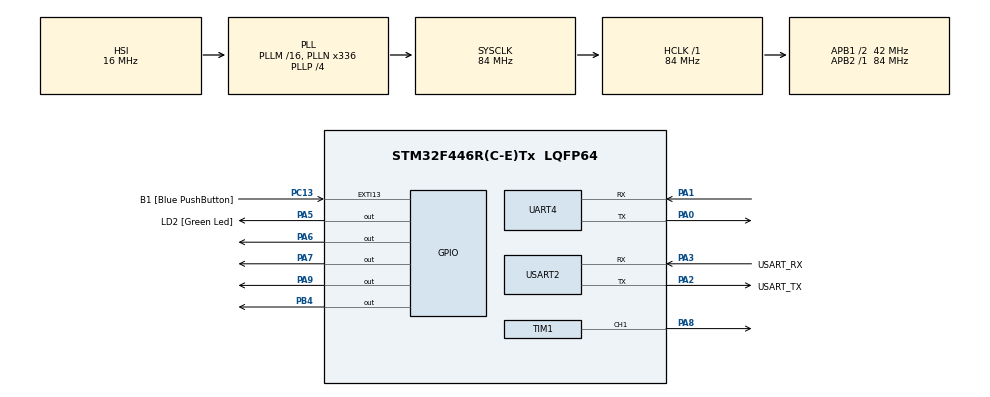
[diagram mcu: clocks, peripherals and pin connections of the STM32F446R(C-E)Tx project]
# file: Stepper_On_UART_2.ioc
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Mcu.Family=STM32F4
Mcu.Name=STM32F446R(C-E)Tx
Mcu.Package=LQFP64
NVIC.PriorityGroup=NVIC_PRIORITYGROUP_0
NVIC.UART4_IRQn=true\:0\:0\:false\:false\:true\:true\:true\:true
PA0-WKUP.Mode=Asynchronous
PA0-WKUP.Signal=UART4_TX
PA1.Mode=Asynchronous
PA1.Signal=UART4_RX
PA13.GPIO_Label=TMS
PA13.Mode=Serial_Wire
PA13.Signal=SYS_JTMS-SWDIO
PA14.GPIO_Label=TCK
PA14.Mode=Serial_Wire
PA14.Signal=SYS_JTCK-SWCLK
PA2.GPIO_Label=USART_TX
PA2.Mode=Asynchronous
PA2.Signal=USART2_TX
PA3.GPIO_Label=USART_RX
PA3.Mode=Asynchronous
PA3.Signal=USART2_RX
PA5.GPIO_Label=LD2 [Green Led]
PA5.Signal=GPIO_Output
PA6.Signal=GPIO_Output
PA7.Signal=GPIO_Output
PA8.Signal=S_TIM1_CH1
PA9.Signal=GPIO_Output
PB3.GPIO_Label=SWO
PB3.Signal=SYS_JTDO-SWO
PB4.Signal=GPIO_Output
PC13.GPIO_Label=B1 [Blue PushButton]
PC13.GPIO_ModeDefaultEXTI=GPIO_MODE_IT_FALLING
PC13.Signal=GPXTI13
PC14-OSC32_IN.Mode=LSE-External-Oscillator
PC14-OSC32_IN.Signal=RCC_OSC32_IN
PC15-OSC32_OUT.Mode=LSE-External-Oscillator
PC15-OSC32_OUT.Signal=RCC_OSC32_OUT
PH0-OSC_IN.Mode=HSE-External-Oscillator
PH0-OSC_IN.Signal=RCC_OSC_IN
PH1-OSC_OUT.Mode=HSE-External-Oscillator
PH1-OSC_OUT.Signal=RCC_OSC_OUT
ProjectManager.HeapSize=0x200
ProjectManager.StackSize=0x400
ProjectManager.TargetToolchain=STM32CubeIDE
RCC.48MHZClocksFreq_Value=84000000
RCC.AHBFreq_Value=84000000
RCC.APB1CLKDivider=RCC_HCLK_DIV2
RCC.APB1Freq_Value=42000000
RCC.APB1TimFreq_Value=84000000
RCC.APB2Freq_Value=84000000
RCC.APB2TimFreq_Value=84000000
RCC.CortexFreq_Value=84000000
RCC.FLatency-AdvancedSettings=FLASH_LATENCY_2
RCC.HCLKFreq_Value=84000000
RCC.HSE_VALUE=8000000
RCC.HSI_VALUE=16000000
RCC.PLLN=336
RCC.PLLP=RCC_PLLP_DIV4
RCC.SYSCLKFreq_VALUE=84000000
RCC.SYSCLKSource=RCC_SYSCLKSOURCE_PLLCLK
RCC.USBFreq_Value=168000000
RCC.VCOOutputFreq_Value=336000000
SH.S_TIM1_CH1.0=TIM1_CH1,PWM Generation1 CH1
TIM1.Channel-PWM\ Generation1\ CH1=TIM_CHANNEL_1
TIM1.Period=255
TIM1.Prescaler=32
UART4.VirtualMode=Asynchronous
USART2.VirtualMode=VM_ASYNC
VP_TIM1_VS_ClockSourceINT.Mode=Internal
board=NUCLEO-F446RE

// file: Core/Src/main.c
/* USER CODE BEGIN Header */
/**
 ******************************************************************************
 * @file           : main.c
 * @brief          : Main program body
 ******************************************************************************
 * @attention
 *
 * Copyright (c) 2025 STMicroelectronics.
 * All rights reserved.
 *
 * This software is licensed under terms that can be found in the LICENSE file
 * in the root directory of this software component.
 * If no LICENSE file comes with this software, it is provided AS-IS.
 *
 ******************************************************************************
 */
/* USER CODE END Header */
#include "main.h"

/* USER CODE BEGIN Includes */
#include<stdio.h>
#include<inttypes.h>

#include <stdbool.h>
/* USER CODE END Includes */

/* USER CODE BEGIN PD */
#define STEP_PIN GPIO_PIN_8
#define STEP_PORT GPIOA
#define STEP_PIN1 GPIO_PIN_9
#define STEP_PORT1 GPIOA
#define DIR_PIN GPIO_PIN_6
#define DIR_PORT GPIOA
#define DIR_PIN1 GPIO_PIN_7
#define DIR_PORT1 GPIOA
/* USER CODE END PD */

TIM_HandleTypeDef htim1;

UART_HandleTypeDef huart4;
UART_HandleTypeDef huart2;

/* USER CODE BEGIN PV */
uint8_t rxbuff[16];

int slow = 75;

int fast = 400;

int Buff1 = 60;

int Buff2 = -60;

int BuffP = 80;

int BuffN = -80;

int32_t lx, ly, rx, ry, cro, squ, tri, cir, up, down, left, right, ll1, rr1,
		ll2, rr2;

HAL_StatusTypeDef status;

static uint32_t last_step_time1 = 0;
static int step_state1 = 0;
static int direction1 = 1;
int step_delay = 5;
int step_delay1 = 1;
static int stepper_running1 = 0;  // Toggle flag
static int prev_squ = 0;
static int prev_ll1 = 0;
static int prev_rr1 = 0;
/* USER CODE END PV */

void SystemClock_Config(void);
static void MX_GPIO_Init(void);
static void MX_USART2_UART_Init(void);
static void MX_UART4_Init(void);
static void MX_TIM1_Init(void);

/* USER CODE BEGIN 0 */
long map(long x, long in_min, long in_max, long out_min, long out_max) {
	return (x - in_min) * (out_max - out_min) / (in_max - in_min) + out_min;
}
/* USER CODE END 0 */

int main(void)
{

  /* MCU Configuration--------------------------------------------------------*/

  /* Reset of all peripherals, Initializes the Flash interface and the Systick. */
  HAL_Init();

  /* Configure the system clock */
  SystemClock_Config();

  /* Initialize all configured peripherals */
  MX_GPIO_Init();
  MX_USART2_UART_Init();
  MX_UART4_Init();
  MX_TIM1_Init();
  /* USER CODE BEGIN 2 */
	HAL_UART_Receive(&huart4, rxbuff, 64, 1000);
	HAL_UART_Receive_IT(&huart4, rxbuff, 64);
  /* USER CODE END 2 */

  /* Infinite loop */
	while (1) {

    /* USER CODE BEGIN 3 */
		HAL_GPIO_WritePin(GPIOA, GPIO_PIN_5, 1);
		HAL_GPIO_WritePin(DIR_PORT1, DIR_PIN1,
				direction1 ? GPIO_PIN_SET : GPIO_PIN_RESET);

		if (ll1 == 1 && !prev_ll1) {  // LL1 button pressed
			direction1 = 1;  // Set to Anti-clockwise
			stepper_running1 = 1;
		}
		if (rr1 == 1 && !prev_rr1) {  // RR1 button pressed
			direction1 = 0;  // Set to Clockwise
			stepper_running1 = 1;
		}
		if (squ == 1 && !prev_squ) {
			stepper_running1 = 0;
			printf("Enable pin high\r\n");
			HAL_GPIO_WritePin(GPIOA, GPIO_PIN_6, GPIO_PIN_SET);
		} else {
			HAL_GPIO_WritePin(GPIOA, GPIO_PIN_6, GPIO_PIN_RESET);
		}

//		if (stepper_running1) {
//		    HAL_GPIO_WritePin(GPIOA, GPIO_PIN_6, GPIO_PIN_RESET); // Enable driver (LOW)
//		} else {
//			printf("Enable pin high\r\n");
//		    HAL_GPIO_WritePin(GPIOA, GPIO_PIN_6, GPIO_PIN_SET); // Disable driver (HIGH)
//		}

		// Store previous states
		prev_ll1 = ll1;
		prev_rr1 = rr1;
		prev_squ = squ;

		if (stepper_running1
				&& (HAL_GetTick() - last_step_time1) >= step_delay1) {
			last_step_time1 = HAL_GetTick(); // Update last step time

			if (step_state1 == 0) {
				HAL_GPIO_WritePin(STEP_PORT1, STEP_PIN1, GPIO_PIN_SET); // Step HIGH
				step_state1 = 1;
			} else {
				HAL_GPIO_WritePin(STEP_PORT1, STEP_PIN1, GPIO_PIN_RESET); // Step LOW
				step_state1 = 0;
			}
		}
		HAL_GPIO_WritePin(GPIOB, GPIO_PIN_4, 1);
		//	HAL_GPIO_WritePin(GPIOB, GPIO_PIN_5, 0);
		TIM1->CCR1 = 255;
		HAL_TIM_PWM_Start(&htim1, TIM_CHANNEL_1);
	}
  /* USER CODE END 3 */
}

void SystemClock_Config(void)
{
  RCC_OscInitTypeDef RCC_OscInitStruct = {0};
  RCC_ClkInitTypeDef RCC_ClkInitStruct = {0};

  /** Configure the main internal regulator output voltage
  */
  __HAL_RCC_PWR_CLK_ENABLE();
  __HAL_PWR_VOLTAGESCALING_CONFIG(PWR_REGULATOR_VOLTAGE_SCALE3);

  /** Initializes the RCC Oscillators according to the specified parameters
  * in the RCC_OscInitTypeDef structure.
  */
  RCC_OscInitStruct.OscillatorType = RCC_OSCILLATORTYPE_HSI;
  RCC_OscInitStruct.HSIState = RCC_HSI_ON;
  RCC_OscInitStruct.HSICalibrationValue = RCC_HSICALIBRATION_DEFAULT;
  RCC_OscInitStruct.PLL.PLLState = RCC_PLL_ON;
  RCC_OscInitStruct.PLL.PLLSource = RCC_PLLSOURCE_HSI;
  RCC_OscInitStruct.PLL.PLLM = 16;
  RCC_OscInitStruct.PLL.PLLN = 336;
  RCC_OscInitStruct.PLL.PLLP = RCC_PLLP_DIV4;
  RCC_OscInitStruct.PLL.PLLQ = 2;
  RCC_OscInitStruct.PLL.PLLR = 2;
  if (HAL_RCC_OscConfig(&RCC_OscInitStruct) != HAL_OK)
  {
    Error_Handler();
  }

  /** Initializes the CPU, AHB and APB buses clocks
  */
  RCC_ClkInitStruct.ClockType = RCC_CLOCKTYPE_HCLK|RCC_CLOCKTYPE_SYSCLK
                              |RCC_CLOCKTYPE_PCLK1|RCC_CLOCKTYPE_PCLK2;
  RCC_ClkInitStruct.SYSCLKSource = RCC_SYSCLKSOURCE_PLLCLK;
  RCC_ClkInitStruct.AHBCLKDivider = RCC_SYSCLK_DIV1;
  RCC_ClkInitStruct.APB1CLKDivider = RCC_HCLK_DIV2;
  RCC_ClkInitStruct.APB2CLKDivider = RCC_HCLK_DIV1;

  if (HAL_RCC_ClockConfig(&RCC_ClkInitStruct, FLASH_LATENCY_2) != HAL_OK)
  {
    Error_Handler();
  }
}

static void MX_TIM1_Init(void)
{

  TIM_ClockConfigTypeDef sClockSourceConfig = {0};
  TIM_MasterConfigTypeDef sMasterConfig = {0};
  TIM_OC_InitTypeDef sConfigOC = {0};
  TIM_BreakDeadTimeConfigTypeDef sBreakDeadTimeConfig = {0};

  htim1.Instance = TIM1;
  htim1.Init.Prescaler = 32;
  htim1.Init.CounterMode = TIM_COUNTERMODE_UP;
  htim1.Init.Period = 255;
  htim1.Init.ClockDivision = TIM_CLOCKDIVISION_DIV1;
  htim1.Init.RepetitionCounter = 0;
  htim1.Init.AutoReloadPreload = TIM_AUTORELOAD_PRELOAD_DISABLE;
  if (HAL_TIM_Base_Init(&htim1) != HAL_OK)
  {
    Error_Handler();
  }
  sClockSourceConfig.ClockSource = TIM_CLOCKSOURCE_INTERNAL;
  if (HAL_TIM_ConfigClockSource(&htim1, &sClockSourceConfig) != HAL_OK)
  {
    Error_Handler();
  }
  if (HAL_TIM_PWM_Init(&htim1) != HAL_OK)
  {
    Error_Handler();
  }
  sMasterConfig.MasterOutputTrigger = TIM_TRGO_RESET;
  sMasterConfig.MasterSlaveMode = TIM_MASTERSLAVEMODE_DISABLE;
  if (HAL_TIMEx_MasterConfigSynchronization(&htim1, &sMasterConfig) != HAL_OK)
  {
    Error_Handler();
  }
  sConfigOC.OCMode = TIM_OCMODE_PWM1;
  sConfigOC.Pulse = 0;
  sConfigOC.OCPolarity = TIM_OCPOLARITY_HIGH;
  sConfigOC.OCNPolarity = TIM_OCNPOLARITY_HIGH;
  sConfigOC.OCFastMode = TIM_OCFAST_DISABLE;
  sConfigOC.OCIdleState = TIM_OCIDLESTATE_RESET;
  sConfigOC.OCNIdleState = TIM_OCNIDLESTATE_RESET;
  if (HAL_TIM_PWM_ConfigChannel(&htim1, &sConfigOC, TIM_CHANNEL_1) != HAL_OK)
  {
    Error_Handler();
  }
  sBreakDeadTimeConfig.OffStateRunMode = TIM_OSSR_DISABLE;
  sBreakDeadTimeConfig.OffStateIDLEMode = TIM_OSSI_DISABLE;
  sBreakDeadTimeConfig.LockLevel = TIM_LOCKLEVEL_OFF;
  sBreakDeadTimeConfig.DeadTime = 0;
  sBreakDeadTimeConfig.BreakState = TIM_BREAK_DISABLE;
  sBreakDeadTimeConfig.BreakPolarity = TIM_BREAKPOLARITY_HIGH;
  sBreakDeadTimeConfig.AutomaticOutput = TIM_AUTOMATICOUTPUT_DISABLE;
  if (HAL_TIMEx_ConfigBreakDeadTime(&htim1, &sBreakDeadTimeConfig) != HAL_OK)
  {
    Error_Handler();
  }
  HAL_TIM_MspPostInit(&htim1);

}

static void MX_UART4_Init(void)
{

  huart4.Instance = UART4;
  huart4.Init.BaudRate = 115200;
  huart4.Init.WordLength = UART_WORDLENGTH_8B;
  huart4.Init.StopBits = UART_STOPBITS_1;
  huart4.Init.Parity = UART_PARITY_NONE;
  huart4.Init.Mode = UART_MODE_TX_RX;
  huart4.Init.HwFlowCtl = UART_HWCONTROL_NONE;
  huart4.Init.OverSampling = UART_OVERSAMPLING_16;
  if (HAL_UART_Init(&huart4) != HAL_OK)
  {
    Error_Handler();
  }

}

static void MX_USART2_UART_Init(void)
{

  huart2.Instance = USART2;
  huart2.Init.BaudRate = 115200;
  huart2.Init.WordLength = UART_WORDLENGTH_8B;
  huart2.Init.StopBits = UART_STOPBITS_1;
  huart2.Init.Parity = UART_PARITY_NONE;
  huart2.Init.Mode = UART_MODE_TX_RX;
  huart2.Init.HwFlowCtl = UART_HWCONTROL_NONE;
  huart2.Init.OverSampling = UART_OVERSAMPLING_16;
  if (HAL_UART_Init(&huart2) != HAL_OK)
  {
    Error_Handler();
  }

}

static void MX_GPIO_Init(void)
{
  GPIO_InitTypeDef GPIO_InitStruct = {0};

  /* GPIO Ports Clock Enable */
  __HAL_RCC_GPIOC_CLK_ENABLE();
  __HAL_RCC_GPIOH_CLK_ENABLE();
  __HAL_RCC_GPIOA_CLK_ENABLE();
  __HAL_RCC_GPIOB_CLK_ENABLE();

  /*Configure GPIO pin Output Level */
  HAL_GPIO_WritePin(GPIOA, LD2_Pin|GPIO_PIN_6|GPIO_PIN_7|GPIO_PIN_9, GPIO_PIN_RESET);

  /*Configure GPIO pin Output Level */
  HAL_GPIO_WritePin(GPIOB, GPIO_PIN_4, GPIO_PIN_RESET);

  /*Configure GPIO pin : B1_Pin */
  GPIO_InitStruct.Pin = B1_Pin;
  GPIO_InitStruct.Mode = GPIO_MODE_IT_FALLING;
  GPIO_InitStruct.Pull = GPIO_NOPULL;
  HAL_GPIO_Init(B1_GPIO_Port, &GPIO_InitStruct);

  /*Configure GPIO pins : LD2_Pin PA6 PA7 PA9 */
  GPIO_InitStruct.Pin = LD2_Pin|GPIO_PIN_6|GPIO_PIN_7|GPIO_PIN_9;
  GPIO_InitStruct.Mode = GPIO_MODE_OUTPUT_PP;
  GPIO_InitStruct.Pull = GPIO_NOPULL;
  GPIO_InitStruct.Speed = GPIO_SPEED_FREQ_LOW;
  HAL_GPIO_Init(GPIOA, &GPIO_InitStruct);

  /*Configure GPIO pin : PB4 */
  GPIO_InitStruct.Pin = GPIO_PIN_4;
  GPIO_InitStruct.Mode = GPIO_MODE_OUTPUT_PP;
  GPIO_InitStruct.Pull = GPIO_NOPULL;
  GPIO_InitStruct.Speed = GPIO_SPEED_FREQ_LOW;
  HAL_GPIO_Init(GPIOB, &GPIO_InitStruct);

}

/* USER CODE BEGIN 4 */
void HAL_UART_RxCpltCallback(UART_HandleTypeDef *huart) {
	if (huart->Instance == UART4) {  // Check if it's the correct UART
		lx = (rxbuff[0] & 0x80) ?
				(int32_t) rxbuff[0] - 256 : (int32_t) rxbuff[0];
		ly = (rxbuff[1] & 0x80) ?
				(int32_t) rxbuff[1] - 256 : (int32_t) rxbuff[1];
		rx = (rxbuff[2] & 0x80) ?
				(int32_t) rxbuff[2] - 256 : (int32_t) rxbuff[2];
		ry = (rxbuff[3] & 0x80) ?
				(int32_t) rxbuff[3] - 256 : (int32_t) rxbuff[3];

		up = (rxbuff[8] & 0x80) ?
				(int32_t) rxbuff[8] - 256 : (int32_t) rxbuff[8];
		down = (rxbuff[9] & 0x80) ?
				(int32_t) rxbuff[9] - 256 : (int32_t) rxbuff[9];
		left = (rxbuff[10] & 0x80) ?
				(int32_t) rxbuff[10] - 256 : (int32_t) rxbuff[10];
		right = (rxbuff[11] & 0x80) ?
				(int32_t) rxbuff[11] - 256 : (int32_t) rxbuff[11];

		tri = (rxbuff[6] & 0x80) ?
				(int32_t) rxbuff[6] - 256 : (int32_t) rxbuff[6];
		squ = (rxbuff[5] & 0x80) ?
				(int32_t) rxbuff[5] - 256 : (int32_t) rxbuff[5];
		cir = (rxbuff[7] & 0x80) ?
				(int32_t) rxbuff[7] - 256 : (int32_t) rxbuff[7];
		cro = (rxbuff[4] & 0x80) ?
				(int32_t) rxbuff[4] - 256 : (int32_t) rxbuff[4];

		ll1 = (rxbuff[12] & 0x80) ?
				(int32_t) rxbuff[12] - 256 : (int32_t) rxbuff[12];
		ll2 = (rxbuff[13] & 0x80) ?
				(int32_t) rxbuff[13] - 256 : (int32_t) rxbuff[13];
		rr1 = (rxbuff[14] & 0x80) ?
				(int32_t) rxbuff[14] - 256 : (int32_t) rxbuff[14];
		rr2 = (rxbuff[15] & 0x80) ?
				(int32_t) rxbuff[15] - 256 : (int32_t) rxbuff[15];

		printf(
				"Received Integers: %ld %ld %ld %ld %ld %ld %ld %ld %ld %ld %ld %ld %ld %ld %ld %ld\r\n",
				lx, ly, rx, ry, cro, squ, tri, cir, up, down, left, right, ll1,
				ll2, rr1, rr2);

		// Restart UART reception for next data
		HAL_UART_Receive_IT(&huart4, rxbuff, 64);
	} else {

		ry = 0;

		rx = 0;

		lx = 0;

		ly = 0;

		cro = 0;

		squ = 0;

		tri = 0;

		cir = 0;

		up = 0;

		down = 0;

		left = 0;

		right = 0;

		ll1 = 0;

		ll2 = 0;

		rr1 = 0;

		rr2 = 0;

	}
}

int _write(int file, char *ptr, int len) {
	HAL_UART_Transmit(&huart2, (uint8_t*) ptr, len, HAL_MAX_DELAY);
	return len;
}
/* USER CODE END 4 */

void Error_Handler(void)
{
	__disable_irq();
	while (1) {
	}
}
